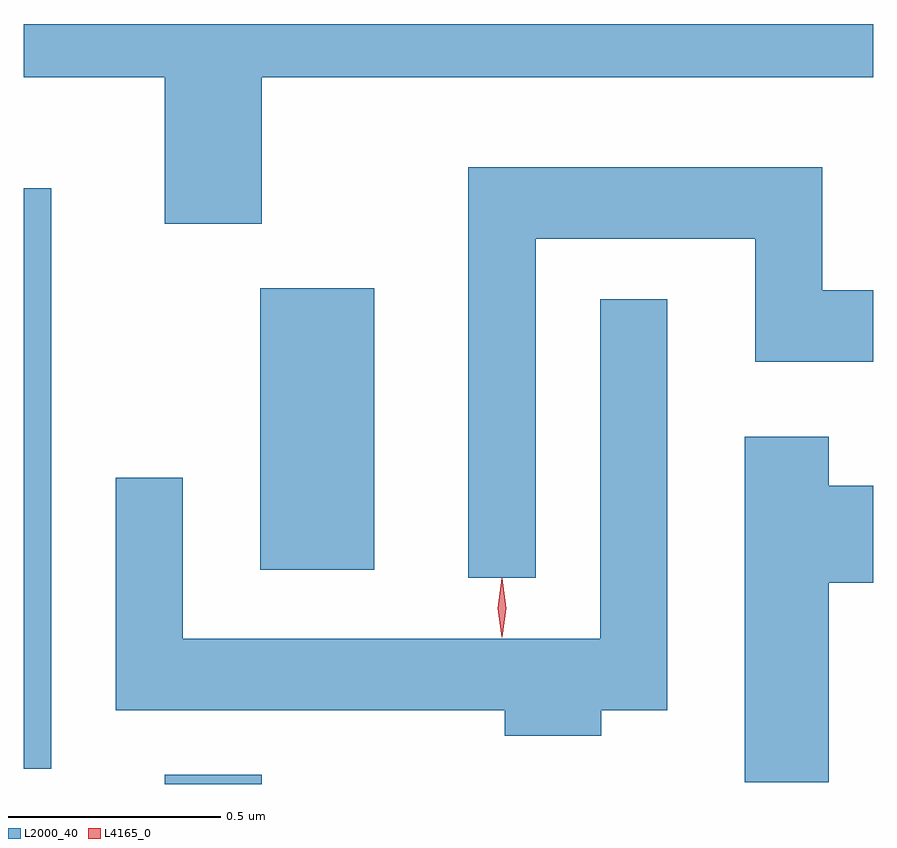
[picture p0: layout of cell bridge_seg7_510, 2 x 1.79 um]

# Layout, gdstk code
import gdstk
lib = gdstk.Library(unit=1e-6, precision=1e-09)
def R(c, l, rs):  # rectangles x0, y0, x1, y1
    for r in rs: c.add(gdstk.rectangle(r[:2], r[2:], *l))
def P(c, l, *ps):  # polygons
    for p in ps: c.add(gdstk.Polygon(p, *l))
L2000_40 = (2000, 40)
L4165_0 = (4165, 0)

bridge_seg7_510 = lib.new_cell('bridge_seg7_510')
R(bridge_seg7_510, L2000_40, [(1421.981,1668.252,1422.209,1668.274), (1421.649,1668.288,1421.714,1669.654), (1422.206,1668.756,1422.474,1669.419)])
P(bridge_seg7_510, L2000_40, [(1422.209,1669.916),(1423.649,1669.916),(1423.649,1670.041),(1421.649,1670.041),(1421.649,1669.916),(1421.981,1669.916),(1421.981,1669.571),(1422.209,1669.571)],
  [(1422.854,1669.536),(1423.371,1669.536),(1423.371,1669.246),(1423.649,1669.246),(1423.649,1669.414),(1423.529,1669.414),(1423.529,1669.704),(1422.696,1669.704),(1422.696,1668.738),(1422.854,1668.738)],
  [(1423.009,1668.426),(1423.164,1668.426),(1423.164,1669.393),(1423.006,1669.393),(1423.006,1668.594),(1422.024,1668.594),(1422.024,1668.973),(1421.866,1668.973),(1421.866,1668.426),(1422.781,1668.426),(1422.781,1668.366),(1423.009,1668.366)],
  [(1423.544,1668.726),(1423.649,1668.726),(1423.649,1668.954),(1423.544,1668.954),(1423.544,1669.069),(1423.346,1669.069),(1423.346,1668.256),(1423.544,1668.256)])
P(bridge_seg7_510, L4165_0, [(1422.775,1668.599),(1422.774,1668.6),(1422.765,1668.666),(1422.774,1668.732),(1422.775,1668.733),(1422.775,1668.732),(1422.785,1668.666),(1422.775,1668.6)],
  [(1422.774,1668.597),(1422.765,1668.666),(1422.774,1668.736),(1422.775,1668.736),(1422.775,1668.736),(1422.785,1668.666),(1422.775,1668.597),(1422.775,1668.597)])

lib.write_gds('bridge_seg7_510.gds')
